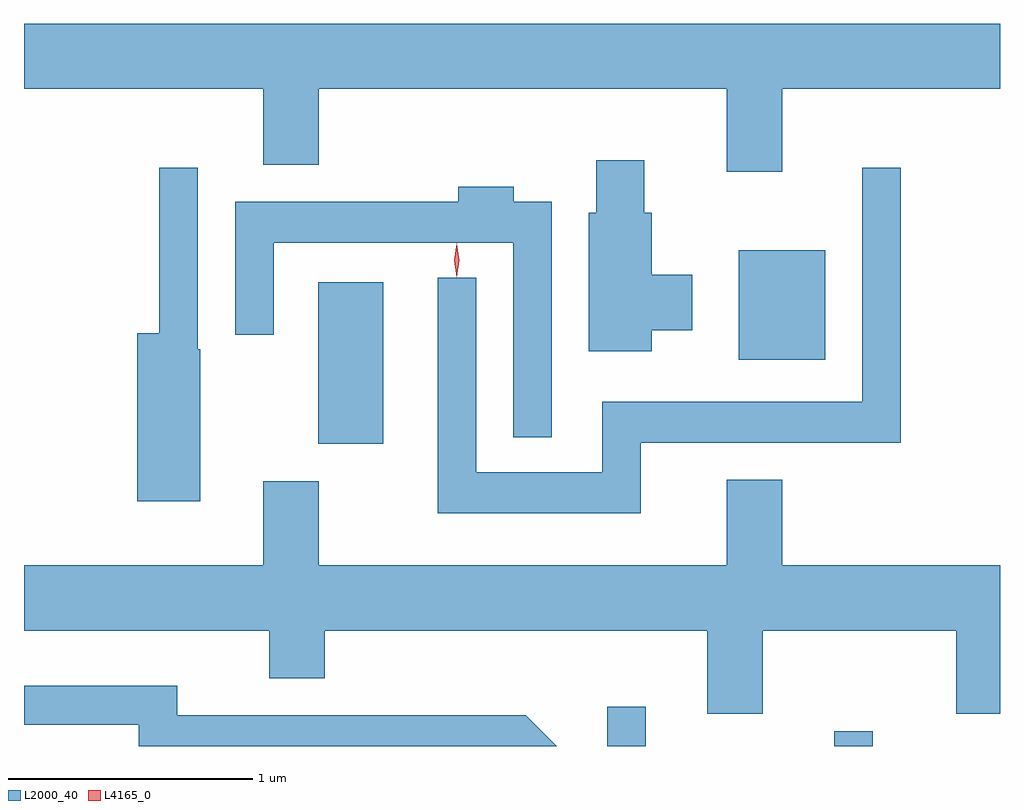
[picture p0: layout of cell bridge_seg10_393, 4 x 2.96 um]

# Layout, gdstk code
import gdstk
lib = gdstk.Library(unit=1e-6, precision=1e-09)
def R(c, l, rs):  # rectangles x0, y0, x1, y1
    for r in rs: c.add(gdstk.rectangle(r[:2], r[2:], *l))
def P(c, l, *ps):  # polygons
    for p in ps: c.add(gdstk.Polygon(p, *l))
L2000_40 = (2000, 40)
L4165_0 = (4165, 0)

bridge_seg10_393 = lib.new_cell('bridge_seg10_393')
R(bridge_seg10_393, L2000_40, [(1390.091,2104.561,1390.249,2104.723), (1391.021,2104.561,1391.179,2104.623), (1388.906,2105.801,1389.174,2106.464), (1390.631,2106.146,1390.984,2106.594)])
P(bridge_seg10_393, L2000_40, [(1390.809,2107.256),(1391.701,2107.256),(1391.701,2107.524),(1387.701,2107.524),(1387.701,2107.256),(1388.681,2107.256),(1388.681,2106.946),(1388.909,2106.946),(1388.909,2107.256),(1390.581,2107.256),(1390.581,2106.916),(1390.809,2106.916)],
  [(1390.274,2106.266),(1390.439,2106.266),(1390.439,2106.494),(1390.274,2106.494),(1390.274,2106.749),(1390.244,2106.749),(1390.244,2106.964),(1390.046,2106.964),(1390.046,2106.749),(1390.016,2106.749),(1390.016,2106.181),(1390.274,2106.181)],
  [(1388.424,2106.19),(1388.414,2106.19),(1388.414,2106.933),(1388.256,2106.933),(1388.256,2106.254),(1388.166,2106.254),(1388.166,2105.566),(1388.424,2105.566)],
  [(1390.229,2105.806),(1391.294,2105.806),(1391.294,2106.933),(1391.136,2106.933),(1391.136,2105.974),(1390.071,2105.974),(1390.071,2105.684),(1389.554,2105.684),(1389.554,2106.483),(1389.396,2106.483),(1389.396,2105.516),(1390.229,2105.516)],
  [(1389.864,2106.794),(1389.709,2106.794),(1389.709,2106.854),(1389.481,2106.854),(1389.481,2106.794),(1388.566,2106.794),(1388.566,2106.248),(1388.724,2106.248),(1388.724,2106.626),(1389.706,2106.626),(1389.706,2105.828),(1389.864,2105.828)],
  [(1390.729,2105.036),(1391.521,2105.036),(1391.521,2104.696),(1391.701,2104.696),(1391.701,2105.304),(1390.809,2105.304),(1390.809,2105.654),(1390.581,2105.654),(1390.581,2105.304),(1388.909,2105.304),(1388.909,2105.649),(1388.681,2105.649),(1388.681,2105.304),(1387.701,2105.304),(1387.701,2105.036),(1388.706,2105.036),(1388.706,2104.841),(1388.934,2104.841),(1388.934,2105.036),(1390.501,2105.036),(1390.501,2104.696),(1390.729,2104.696)],
  [(1389.757,2104.689),(1388.329,2104.689),(1388.329,2104.809),(1387.701,2104.809),(1387.701,2104.651),(1388.171,2104.651),(1388.171,2104.561),(1389.885,2104.561)])
P(bridge_seg10_393, L4165_0, [(1389.474,2106.484),(1389.465,2106.553),(1389.474,2106.622),(1389.475,2106.623),(1389.475,2106.622),(1389.485,2106.553),(1389.475,2106.484),(1389.475,2106.484)],
  [(1389.474,2106.487),(1389.474,2106.488),(1389.465,2106.554),(1389.474,2106.62),(1389.475,2106.62),(1389.475,2106.62),(1389.484,2106.554),(1389.475,2106.488)])

lib.write_gds('bridge_seg10_393.gds')
